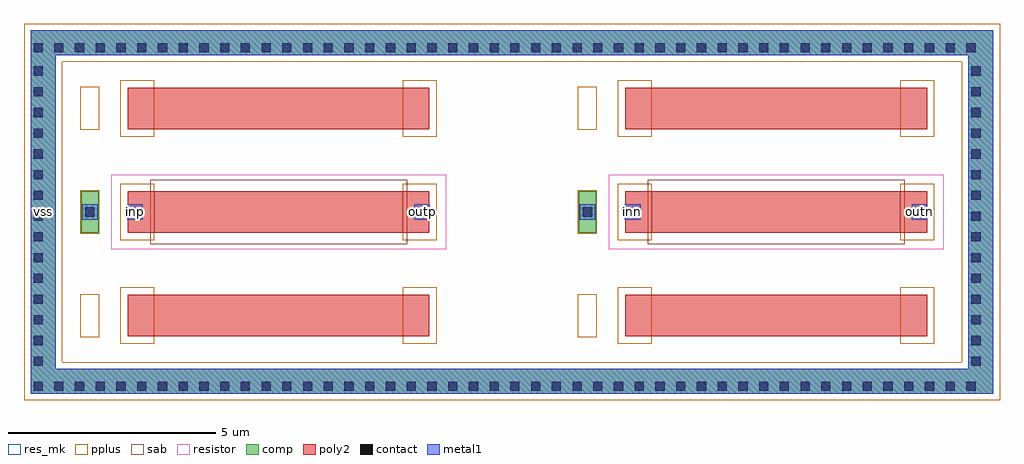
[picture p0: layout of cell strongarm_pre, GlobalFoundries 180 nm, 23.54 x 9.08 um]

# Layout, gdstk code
import gdstk
lib = gdstk.Library(unit=1e-6, precision=1e-09)
def R(c, l, rs):  # rectangles x0, y0, x1, y1
    for r in rs: c.add(gdstk.rectangle(r[:2], r[2:], *l))
def A(c, l, x, y, w, h, nx, ny, dx, dy):  # array of equal rectangles
    R(c, l, [(x+i*dx, y+j*dy, x+i*dx+w, y+j*dy+h) for i in range(nx) for j in range(ny)])
comp = (22, 0)
poly2 = (30, 0)
pplus = (31, 0)
contact = (33, 0)
metal1 = (34, 0)
sab = (49, 0)
resistor = (62, 0)
res_mk = (110, 5)

strongarm_pre = lib.new_cell('strongarm_pre')
R(strongarm_pre, comp, [(-2.98,-3.88,20.24,-3.28), (-2.98,-3.28,-2.38,4.28), (19.64,-3.28,20.24,4.28), (-1.76,0,-1.34,1), (10.24,0,10.66,1), (-2.98,4.28,20.24,4.88)])
A(strongarm_pre, poly2, -0.64, -2.5, 7.28, 1, 1, 3, 0, 2.5)
A(strongarm_pre, poly2, 11.36, -2.5, 7.28, 1, 1, 3, 0, 2.5)
A(strongarm_pre, pplus, -0.82, -2.68, 0.82, 1.36, 1, 3, 0, 2.5)
A(strongarm_pre, pplus, 6, -2.68, 0.82, 1.36, 1, 3, 0, 2.5)
A(strongarm_pre, pplus, 11.18, -2.68, 0.82, 1.36, 1, 3, 0, 2.5)
A(strongarm_pre, pplus, 18, -2.68, 0.82, 1.36, 1, 3, 0, 2.5)
A(strongarm_pre, pplus, -1.78, -2.52, 0.46, 1.04, 1, 3, 0, 2.5)
A(strongarm_pre, pplus, 10.22, -2.52, 0.46, 1.04, 1, 3, 0, 2.5)
R(strongarm_pre, pplus, [(-3.14,-4.04,20.4,-3.12), (-3.14,-3.44,-2.22,4.44), (19.48,-3.44,20.4,4.44), (-3.14,4.12,20.4,5.04)])
A(strongarm_pre, contact, -2.91, -3.81, 0.22, 0.22, 46, 2, 0.5, 8.16)
A(strongarm_pre, contact, -2.91, -3.21, 0.22, 0.22, 1, 15, 0, 0.5)
A(strongarm_pre, contact, 19.71, -3.21, 0.22, 0.22, 1, 15, 0, 0.5)
R(strongarm_pre, contact, [(-1.66,0.39,-1.44,0.61), (-0.57,0.39,-0.35,0.61), (6.35,0.39,6.57,0.61), (10.34,0.39,10.56,0.61), (11.43,0.39,11.65,0.61), (18.35,0.39,18.57,0.61)])
R(strongarm_pre, metal1, [(-2.98,-3.88,20.24,-3.28), (-2.98,-3.28,-2.38,4.28), (19.64,-3.28,20.24,4.28), (-1.74,0.31,-1.36,0.69), (-0.65,0.31,-0.27,0.69), (6.27,0.31,6.65,0.69), (10.26,0.31,10.64,0.69), (11.35,0.31,11.73,0.69), (18.27,0.31,18.65,0.69), (-2.98,4.28,20.24,4.88)])
R(strongarm_pre, sab, [(-0.1,-0.28,6.1,1.28), (11.9,-0.28,18.1,1.28)])
R(strongarm_pre, resistor, [(-1.04,-0.4,7.04,1.4), (10.96,-0.4,19.04,1.4)])
R(strongarm_pre, res_mk, [(0,0,6,1), (12,0,18,1)])
strongarm_pre.add(gdstk.Label('inp', (-0.46,0.5), layer=34, texttype=10))
strongarm_pre.add(gdstk.Label('outp', (6.46,0.5), layer=34, texttype=10))
strongarm_pre.add(gdstk.Label('inn', (11.54,0.5), layer=34, texttype=10))
strongarm_pre.add(gdstk.Label('outn', (18.46,0.5), layer=34, texttype=10))
strongarm_pre.add(gdstk.Label('vss', (-2.68,0.5), layer=34, texttype=10))

lib.write_gds('strongarm_pre.gds')
